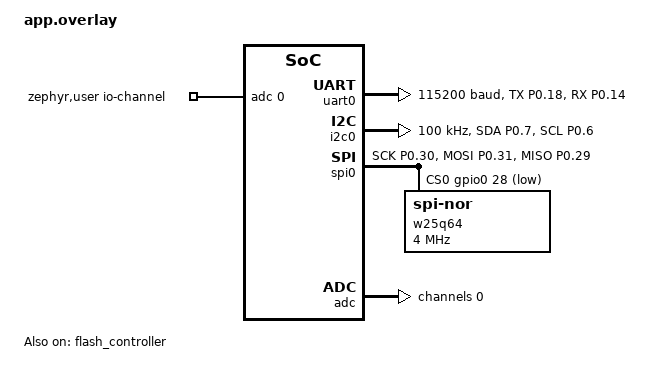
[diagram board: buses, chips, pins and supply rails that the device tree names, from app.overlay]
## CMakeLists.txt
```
# SPDX-License-Identifier: Apache-2.0

cmake_minimum_required(VERSION 3.20.0)

find_package(Zephyr REQUIRED)
project(blinky_3)

# 主源文件
target_sources(app PRIVATE src/main.c)

# 传感器模块
target_sources(app PRIVATE 
    src/sensors/aht30.c
    src/sensors/spl06.c
)

# 存储模块
target_sources(app PRIVATE 
    src/storage/w25q64.c
    src/storage/nvs_config.c
    src/storage/offline_clock.c
)

# 蓝牙模块
target_sources(app PRIVATE 
    src/ble/ble_adv.c
    src/ble/ble_services.c
    src/ble/ble_ota.c
)

# LED模块
target_sources(app PRIVATE src/led.c)

# 电池电压采样（当前发布 CONFIG_ADC=y；实际包含 SAADC 驱动与测量代码）
target_sources(app PRIVATE src/vdd.c)

# 添加包含目录
target_include_directories(app PRIVATE src)
```

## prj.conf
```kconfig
# 基础功能
CONFIG_GPIO=y

# 控制台：发布态全部关闭，见文件末尾「Release 配置」段。
#
# 【调试态启用方法】把文件末尾 Release 段整体注释掉，改用 RTT + J-Link 抓日志：
#     CONFIG_CONSOLE=y
#     CONFIG_UART_CONSOLE=n
#     CONFIG_USE_SEGGER_RTT=y
#     CONFIG_RTT_CONSOLE=y
#     CONFIG_NCS_BOOT_BANNER=n
#     CONFIG_PRINTK=y
#
# 【重要】CONFIG_NCS_BOOT_BANNER 在 NCS 中默认 y，且会 select PRINTK + select EARLY_CONSOLE，
# 因此“只写 CONFIG_PRINTK=n”是无效的：Kconfig 会给出
#   "PRINTK was assigned the value 'n' but got the value 'y'"
# 警告并继续编译 printk。要真正关掉 printk，必须同时关闭 NCS_BOOT_BANNER。
# 当前 CONFIG_CONSOLE=n 时 printk 本就没有输出后端，这些字符串只是纯 ROM 浪费。
CONFIG_SERIAL=y

# I2C 配置 - AHT30 温湿度传感器
CONFIG_I2C=y
CONFIG_I2C_NRFX=y

# SPI 配置 - W25Q64 Flash存储器（SPI 实例由板级 overlay 通过 devicetree 启用）
CONFIG_SPI=y
CONFIG_SPI_NRFX=y

# UART 驱动（设备树 uart0 仍存在，仅控制台改为 RTT）
CONFIG_UART_ASYNC_API=n
CONFIG_UART_INTERRUPT_DRIVEN=y

# 日志配置：发布态关闭。RTT 仅在调试态启用（写法见文件开头说明）。
# 注意：CONFIG_LOG 在本文件只允许出现一次（Kconfig 取最后一次赋值，重复会让文档与实际不一致）。

# 内存优化
# 注意：CONFIG_MAIN_STACK_SIZE 集中在本文件末尾的「栈与内存」段统一定义，此处不再重复赋值。
CONFIG_IDLE_STACK_SIZE=128
CONFIG_SYSTEM_WORKQUEUE_STACK_SIZE=1280
CONFIG_ISR_STACK_SIZE=1024

# 禁用串口控制台 (大幅节省 RAM)
# CONFIG_SERIAL=n
# CONFIG_CONSOLE=n
# CONFIG_UART_CONSOLE=n

# 蓝牙栈内存优化 (BT_HCI_TX_STACK_SIZE 由 nRF 默认设为 1536，勿覆盖)
#
# 【1024 → 1280，2026-09-13】实测依据（build-ota3，CONFIG_INIT_STACKS）：
#   未跑 OTA：rx_thread_stack 峰值 936/1024，只剩 88 B
#   跑完 OTA：峰值 968/1024，只剩 **56 B** —— 远低于 128 B 安全线
# 为什么 GATT 回调这么吃栈：这些重操作**直接跑在 BT RX 上下文**里：
#   · 写 W25Q64 记录     · 保存续传状态到 NVS     · OTA 开始时整槽擦除
#   · OTA 结束时扫描整个镜像算 SHA-256（mbedtls 上下文 + hash[32] 都在栈上）
# 只加容量是「短期最小修复」：它消除爆栈，但**不解决"阻塞 BT RX"**。
# 【已落地 2026-09-13】擦除 / Flash 写入 / NVS / 整镜像 SHA-256 已全部移出 GATT 回调，
#   改为「回调只校验+拷贝+投递，系统工作队列执行」（ble_ota.c 异步重写）。
#   重写后实测峰值 648/1280（空闲 632 B），重活落在 sys_work_q_stack（968/1280，空闲 312 B）。
#
# 【1280 → 1024，2026-09-13】按 648 B 峰值回收 256 B。
#   **已复测通过（build-ota3，INIT_STACKS），1024 固化为发布配置：**
#   最坏路径全套跑完后读栈（MTU128 全量 / MTU65 回退 / 断连续传 / 错误 SHA /
#   超大与错误密钥拒绝 / 重复 START·CANCEL，全程未复位，故为累积峰值）：
#     rx_thread_stack  峰值 648/1024 → 空闲 **376 B**  ✅（验收线 256 B）
#     sys_work_q 936/1280 空闲 344   z_main 696/1024 空闲 328
#     z_interrupt 600/1024 空闲 424  mpsl 400/640 空闲 240（最紧张，仍 ≥128）
#   **不要降到 768**：按峰值 648 仅余 120 B，不合格（低于 128 B 门槛）。
#   若将来测得 rx 空闲 < 256 B，一律恢复 1280。
#   代价/收益：总 RAM 23,016 → 22,760 B（92.61%），物理余量 1,560 → 1,816 B。
# 1.0.12 历史同步与 OTA 实测峰值 936 B，按上述规则恢复 1280 B；待同负载复测。
CONFIG_BT_RX_STACK_SIZE=1280

# 时钟配置
CONFIG_CLOCK_CONTROL_NRF_K32SRC_RC=y
CONFIG_CLOCK_CONTROL_NRF_K32SRC_XTAL=n
CONFIG_CLOCK_CONTROL_NRF_K32SRC_500PPM=y

# 蓝牙配置
CONFIG_BT=y
CONFIG_BT_PERIPHERAL=y
CONFIG_BT_DEVICE_NAME="PandaTemp"
CONFIG_BT_DEVICE_NAME_DYNAMIC=y
CONFIG_BT_DEVICE_NAME_MAX=32
CONFIG_BT_MAX_CONN=1
CONFIG_BT_MAX_PAIRED=0
CONFIG_BT_SMP=n
CONFIG_BT_BONDABLE=n
CONFIG_BT_BUF_ACL_RX_SIZE=132
CONFIG_BT_BUF_ACL_TX_SIZE=132
CONFIG_BT_BUF_ACL_TX_COUNT=4
CONFIG_BT_BUF_EVT_RX_COUNT=5
CONFIG_BT_L2CAP_TX_BUF_COUNT=4
CONFIG_BT_L2CAP_TX_MTU=128
CONFIG_BT_BUF_CMD_TX_SIZE=65
CONFIG_BT_GATT_CACHING=n
CONFIG_BT_GAP_AUTO_UPDATE_CONN_PARAMS=n
CONFIG_BT_GATT_ENFORCE_SUBSCRIPTION=n
CONFIG_BT_ATT_PREPARE_COUNT=0

# 电源管理（nRF52 系列 52810/52832 等在 NCS 中均未选 HAS_PM，CONFIG_PM 依赖不满足，勿强制 =y）
# CONFIG_PM=y
# CONFIG_PM_DEVICE=y
#
# 【如何打开】
# 1) 换板子时：若新板子/SoC 在 NCS 中已选 HAS_PM（非 nRF52 或后续 NCS 若开放），在 prj.conf 取消上面两行注释即可。
# 2) 当前板子要打开：先确认依赖——CONFIG_PM 依赖 SYS_CLOCK_EXISTS 与 HAS_PM（SoC 提供低功耗钩子）。
#    - 在 build 目录执行：ninja menuconfig → Subsystems and OS → Power Management，查看依赖是否满足。
#    - 若 HAS_PM 未选：在板级 conf（如 boards/<板名>.conf）或 SoC 层添加 select HAS_PM（需改 NCS 板级/SoC 树）。
# 3) 仅要系统级低功耗（k_sleep 进低功耗）：只启用 CONFIG_PM=y；CONFIG_PM_DEVICE 可选。
# 4) 启用 CONFIG_PM_DEVICE 时：app.overlay 中已对 i2c0/adc/flash 删除 zephyr,pm-device-runtime-auto，可避免链接错误。

# DCDC 转换器（降低射频功耗约40%）
# 注意：nrf52dk_nrf52810.dts 已默认启用 DCDC (regulator-initial-mode = NRF5X_REG_MODE_DCDC)

# Flash 配置
CONFIG_FLASH=y
CONFIG_FLASH_PAGE_LAYOUT=y
CONFIG_FLASH_MAP=y
CONFIG_SOC_FLASH_NRF=y
CONFIG_SPI_NOR=y
CONFIG_FLASH_JESD216_API=y
# 外置 SPI NOR 的“布局页/擦除块”粒度必须等于 W25Q64 的实际擦除块 = 4 KiB。
# Zephyr 默认 65536，会与 NVS 的 sector_size=4096 直接冲突：
#   nvs_mount() -> flash_get_page_info_by_offs() 得到 info.size=65536
#   校验 `fs->sector_size % info.size` = 4096 % 65536 = 4096 != 0 -> 返回 -EINVAL
# 后果：nvs_config_init() 失败、nvs_ready 恒为 0，时间基准/采样间隔/设备配置全部无法持久化。
# 实测证据（2026-09-11）：修前 nvs_ready=0x00，W25Q64 的 nvs_storage(0x28000) 首 64B 全 0xFF。
# 该布局在 ROM 中仅是 {pages_count, pages_size} 两个整数，不占 RAM。
CONFIG_SPI_NOR_FLASH_LAYOUT_PAGE_SIZE=4096

# NVS 配置（配置 + W25Q64 位置存芯片 FLASH，定时 flush）
CONFIG_NVS=y
# CONFIG_SETTINGS=y
# 注意：CONFIG_NVS_LOG_LEVEL 由 Zephyr 日志子系统间接提供，不可在 prj.conf 中直接设置；
# 且当前 CONFIG_LOG=n，NVS 日志已随全局日志关闭。
# NVS 写内部 Flash 时需允许 MPU 写，否则可能 MPU FAULT
CONFIG_MPU_ALLOW_FLASH_WRITE=y

# ===== Release 配置：关闭全部控制台/日志输出（省 ROM/RAM）=====
#
# 维护须知：Kconfig 对同一符号取“最后一次赋值”，在同一文件里重复赋值只会产生警告，
# 并让文档与实际 .config 不一致（本项目历史上就发生过：文档写 PRINTK=n，实际 CONFIG_PRINTK=y）。
# 因此每个符号在 prj.conf 中只出现一次，调试开关统一走文件开头的说明。
CONFIG_LOG=n
CONFIG_PRINTK=n
CONFIG_CONSOLE=n
# PRINTK 被强制为 y 的真正原因：NCS_BOOT_BANNER 默认 y 且 select PRINTK + EARLY_CONSOLE
CONFIG_NCS_BOOT_BANNER=n
CONFIG_EARLY_CONSOLE=n

CONFIG_USE_SEGGER_RTT=n
CONFIG_RTT_CONSOLE=n
CONFIG_LOG_BACKEND_RTT=n

CONFIG_BOOT_BANNER=n

# 512 → 640（2026-09-13）：实测峰值 400/512，余 112 B，是全项目余量最小的栈。
# MPSL 是协议栈的低优先级工作上下文，余量必须留够，不能拿它去换别的 RAM。
CONFIG_MPSL_WORK_STACK_SIZE=640

# ===== 栈与内存：CONFIG_MAIN_STACK_SIZE 全工程唯一赋值点 =====
# 实测（tools/stack_hwm.py，2026-09-11）：
#   768 B 时 z_main_stack 峰值 680 B，仅余 88 B（88.5%）——全项目最紧张的一个栈。
#   v3（采样/历史周期解耦）在采样路径上又增加了聚合与事件判定逻辑，故上调到 1024 B，
#   把余量拉回安全区；RAM 代价 +256 B。
CONFIG_MAIN_STACK_SIZE=1024

# ==========================================================================
# OTA（自定义极简 BLE OTA：Control / Data / Status）
# ==========================================================================
# 镜像写入：flash_img + stream_flash。缓冲就是 CONFIG_IMG_BLOCK_BUF_SIZE，
# 没有隐藏的大结构（struct flash_img_context = buf[N] + flash_area* + stream_flash_ctx≈48B）。
# 取 256 = W25Q64 的页大小，正好一次页编程写满，不浪费。
# 注意：IMG_MANAGER **depends on** STREAM_FLASH（是 depends 不是 select），
# 不显式打开的话 Kconfig 会静默丢弃 IMG_MANAGER，表现为
# "CONFIG_IMG_BLOCK_BUF_SIZE undeclared" 这种看起来毫不相干的编译错误。
CONFIG_STREAM_FLASH=y
CONFIG_IMG_MANAGER=y
CONFIG_IMG_BLOCK_BUF_SIZE=256

# App 侧 SHA-256 校验（flash_img_check）。会拉进 SHA-256 实现，
# 若体积超标可关掉——完整性最终由 MCUboot 的 ECDSA-P256 验签兜底。
CONFIG_IMG_ENABLE_IMAGE_CHECK=y

# sys_reboot() 需要显式打开，否则链接期才报 "undefined reference to sys_reboot"
CONFIG_REBOOT=y

# ATT MTU：请求 128，协商失败自动回退到默认（不是升级前提）。
# 代价是 ACL 缓冲从 69 加到 132（MTU+4），RAM 约 +0.4 KB。
# CONFIG_BT_L2CAP_TX_MTU / *_BUF_ACL_*_SIZE 在上面的蓝牙段统一定义，此处不再重复。

# ==========================================================================
# 电池电压（SAADC 内部 VDD 通道，零外部电路 —— 见 app.overlay 的 &adc）
# ==========================================================================
# 板子**没有**电压采样/分压电路；nRF52810 的 SAADC 能直接测 VDD，前提是
# VCC 直接由电池供电（无 LDO），否则读到的是稳压值而不是电池电压。
#
# 实测成本（隔离探针 build-vddprobe，对比 build-ota3）：
#   ROM +4,432 B（签名镜像 145,590 → 150,023，距红线仍有 7,673 B）
#   RAM +192 B （22,760 → 22,952，物理余量 1,816 → 1,624 B）
# 其中我们自己的代码只有 120 B（vdd_sample_mv），其余全是 Zephyr ADC 子系统
# + nrfx SAADC 驱动（adc_nrfx_read/SAADC_IRQHandler/nrfx_saadc_* 等）。
# 注意：**必须真有 adc_read() 调用点**才量得准 —— 只开 CONFIG_ADC 而不调用，
# --gc-sections 会把整个驱动回收，量出来是 ~0（与 IMG_MANAGER 探针同一个坑）。
#
# 功耗：驱动在每次转换 DONE 后 nrfy_saadc_disable()，空闲不耗电；
# 默认每 60 秒采一次（见 src/vdd.h 的 VDD_SAMPLE_PERIOD_S，钳位 60~300）。
CONFIG_ADC=y
```

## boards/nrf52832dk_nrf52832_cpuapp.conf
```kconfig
# nRF52832 上 W25Q64 使用 SPI1，显式启用 SPI 实例 1
CONFIG_SPI_1=y
```

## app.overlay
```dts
/* NRF_SAADC_VDD 等 SAADC 输入宏（电池电压采样用） */
#include <zephyr/dt-bindings/adc/nrf-saadc.h>

/ {
	aliases {
		/* 当前52810使用此SPI；旧52832配置仅作历史归档 */
		w25q64-spi = &spi0;
	};
	chosen {
		zephyr,console = &uart0;
		zephyr,shell-uart = &uart0;
		nordic,pm-ext-flash = &w25q64;
	};
	zephyr,user {
		/* 通道 0 = 电池电压（见文件末尾 &adc） */
		io-channels = <&adc 0>;
	};
};

&uart0 {
	status = "okay";
	current-speed = <115200>;
	pinctrl-0 = <&uart0_default_custom>;
	pinctrl-1 = <&uart0_sleep_custom>;
	pinctrl-names = "default", "sleep";
};

&pinctrl {
	uart0_default_custom: uart0_default_custom {
		group1 {
			psels = <NRF_PSEL(UART_TX, 0, 18)>,
			        <NRF_PSEL(UART_RX, 0, 14)>;
		};
	};

	uart0_sleep_custom: uart0_sleep_custom {
		group1 {
			psels = <NRF_PSEL(UART_TX, 0, 18)>,
			        <NRF_PSEL(UART_RX, 0, 14)>;
			low-power-enable;
		};
	};

	i2c0_default_custom: i2c0_default_custom {
		group1 {
			psels = <NRF_PSEL(TWIM_SDA, 0, 7)>,
			        <NRF_PSEL(TWIM_SCL, 0, 6)>;
			bias-pull-up;
		};
	};

	i2c0_sleep_custom: i2c0_sleep_custom {
		group1 {
			psels = <NRF_PSEL(TWIM_SDA, 0, 7)>,
			        <NRF_PSEL(TWIM_SCL, 0, 6)>;
			low-power-enable;
			bias-pull-up;
		};
	};

	/*
	 * W25Q64 SPI0 pinctrl: SCK=P0.30, MOSI=P0.31, MISO=P0.29.
	 *
	 * These states MUST live in this file.  Zephyr's
	 * configuration_files.cmake stops looking for `app.overlay` as soon as
	 * it finds a matching `boards/<board>_<soc>.overlay`, so SPI0 used to
	 * silently fall back to the nRF52 DK defaults (SCK=P0.29, MISO=P0.30,
	 * no cs-gpios) whenever the pin config was moved into boards/.
	 */
	spi0_default_custom: spi0_default_custom {
		group1 {
			psels = <NRF_PSEL(SPIM_SCK, 0, 30)>,
			        <NRF_PSEL(SPIM_MOSI, 0, 31)>,
			        <NRF_PSEL(SPIM_MISO, 0, 29)>;
			bias-pull-down;
		};
	};

	spi0_sleep_custom: spi0_sleep_custom {
		group1 {
			psels = <NRF_PSEL(SPIM_SCK, 0, 30)>,
			        <NRF_PSEL(SPIM_MOSI, 0, 31)>,
			        <NRF_PSEL(SPIM_MISO, 0, 29)>;
			low-power-enable;
			bias-pull-down;
		};
	};
};

&uicr {
	/delete-property/ gpio-as-nreset;
};

&i2c0 {
	status = "okay";
	compatible = "nordic,nrf-twim";
	pinctrl-0 = <&i2c0_default_custom>;
	pinctrl-1 = <&i2c0_sleep_custom>;
	pinctrl-names = "default", "sleep";
	clock-frequency = <I2C_BITRATE_STANDARD>;
	/delete-property/ zephyr,pm-device-runtime-auto;
};

/* SPI0 - W25Q64 Flash（nRF52810 只有一组 SPI，与 I2C 不冲突）
 * 注意：引脚与 CS 必须写在本文件内，原因见上方 spi0_default_custom 的注释。
 * 旧nRF52832的SPI1方案已归档于docs/archive/boards/，不属于当前构建入口。
 */

&spi0 {
	status = "okay";
	compatible = "nordic,nrf-spim";
	pinctrl-0 = <&spi0_default_custom>;
	pinctrl-1 = <&spi0_sleep_custom>;
	pinctrl-names = "default", "sleep";
	cs-gpios = <&gpio0 28 GPIO_ACTIVE_LOW>;
	/delete-property/ zephyr,pm-device-runtime-auto;

	w25q64: w25q64@0 {
		compatible = "jedec,spi-nor";
		status = "okay";
		reg = <0>;
		spi-max-frequency = <4000000>;
		size = <0x4000000>;
		jedec-id = [ef 40 17];
		/* A soft reset does not wake a W25Q64 left in deep power-down.
		 * Keep this in sync with sysbuild/mcuboot.overlay.
		 */
		has-dpd;
		t-exit-dpd = <3000>;
	};
};

/*
 * 电池电压采样：SAADC 内部 VDD 通道，**不需要任何外部电路**。
 *
 * 板子没有电压分压/采样电路，但 nRF52810 的 SAADC 能直接测 VDD：
 *   内部基准 0.6 V + 增益 1/6 → 量程 3.6 V（覆盖模块工作电压 1.7~3.6 V）
 *   换算：mV = raw * 3600 / 4096（12 bit，见 src/vdd.c）
 * 前提：VCC 直接由电池供电（无 LDO/稳压），否则测到的是稳压值而非电池电压。
 *
 * 驱动在每次转换完成后会 nrfy_saadc_disable()，空闲不耗电。
 */
&adc {
	status = "okay";
	/delete-property/ zephyr,pm-device-runtime-auto;
	#address-cells = <1>;
	#size-cells = <0>;

	channel@0 {
		reg = <0>;
		zephyr,gain = "ADC_GAIN_1_6";
		zephyr,reference = "ADC_REF_INTERNAL";
		zephyr,acquisition-time = <ADC_ACQ_TIME_DEFAULT>;
		zephyr,input-positive = <NRF_SAADC_VDD>;
		zephyr,resolution = <12>;
	};
};

&flash_controller {
	status = "okay";
};

&flash0 {
	status = "okay";
	/delete-property/ zephyr,pm-device-runtime-auto;

	/* MCUboot + PM 布局：内部只保留 primary app，不再放 NVS */
	/delete-node/ partitions;

	partitions {
		compatible = "fixed-partitions";
		#address-cells = <1>;
		#size-cells = <1>;

		/* Primary app (0x8200 - 0x30000) */
		slot0_partition: partition@8200 {
			label = "image-0";
			reg = <0x00008200 0x00027E00>;
		};
	};
};
```

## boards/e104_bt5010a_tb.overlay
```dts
/* SPDX-License-Identifier: Apache-2.0 */
/* Reference only; current release uses nrf52dk/nrf52810 + app.overlay. */
/* E104-BT5010A (nRF52810) 板级 overlay：W25Q64 使用 SPI0，引脚 30/31/29，CS 28 */

/ {
	aliases {
		w25q64-spi = &spi0;
	};
};

&pinctrl {
	spi0_default_custom: spi0_default_custom {
		group1 {
			psels = <NRF_PSEL(SPIM_SCK, 0, 30)>,
			        <NRF_PSEL(SPIM_MOSI, 0, 31)>,
			        <NRF_PSEL(SPIM_MISO, 0, 29)>;
			bias-pull-down;
		};
	};
	spi0_sleep_custom: spi0_sleep_custom {
		group1 {
			psels = <NRF_PSEL(SPIM_SCK, 0, 30)>,
			        <NRF_PSEL(SPIM_MOSI, 0, 31)>,
			        <NRF_PSEL(SPIM_MISO, 0, 29)>;
			low-power-enable;
			bias-pull-down;
		};
	};
};

&spi0 {
	status = "okay";
	compatible = "nordic,nrf-spim";
	pinctrl-0 = <&spi0_default_custom>;
	pinctrl-1 = <&spi0_sleep_custom>;
	pinctrl-names = "default", "sleep";
	cs-gpios = <&gpio0 28 GPIO_ACTIVE_LOW>;
	/delete-property/ zephyr,pm-device-runtime-auto;
};
```

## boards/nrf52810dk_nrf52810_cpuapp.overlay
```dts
/* SPDX-License-Identifier: Apache-2.0 */

/*
 * WARNING: this file is NOT used by any build.
 *
 * The board target is `nrf52dk/nrf52810`; Zephyr hwmv2 only looks for
 * `<board>_<soc>.overlay` (i.e. `nrf52dk_nrf52810.overlay`).  There is no
 * `nrf52810dk` board, so this file is never applied — which is why SPI0 kept
 * running on the nRF52 DK default pins.  All board pin configuration for the
 * current target now lives in `app.overlay`; do not "fix" this by renaming it,
 * because a matching `boards/*.overlay` silently replaces `app.overlay`
 * (see cmake/modules/configuration_files.cmake).
 */

/ {
	
	chosen {
		/* 确保 console 使用 UART0 */
		zephyr,console = &uart0;
	};

};

/* 配置 UART0 - 参考 RIOT-2020.10-RC3 periph_conf.h */
/* E104-BT5010A: UART 映射到 USB 虚拟 COM 端口 */
/* 使用 pinctrl 方式配置引脚：P0.18 (TX), P0.14 (RX) */
&uart0 {
	status = "okay";
	current-speed = <115200>;
	pinctrl-0 = <&uart0_default_custom>;
	pinctrl-1 = <&uart0_sleep_custom>;
	pinctrl-names = "default", "sleep";
};

/* 自定义 UART0 pinctrl 配置 - 覆盖默认配置 */
&pinctrl {
	uart0_default_custom: uart0_default_custom {
		group1 {
			psels = <NRF_PSEL(UART_TX, 0, 18)>,  /* P0.18 - TXD */
			        <NRF_PSEL(UART_RX, 0, 14)>;  /* P0.14 - RXD */
		};
	};

	uart0_sleep_custom: uart0_sleep_custom {
		group1 {
			psels = <NRF_PSEL(UART_TX, 0, 18)>,  /* P0.18 - TXD */
			        <NRF_PSEL(UART_RX, 0, 14)>;  /* P0.14 - RXD */
			low-power-enable;
		};
	};

	/* W25Q64 SPI0 pinctrl：SLK 30, MOSI 31, MISO 29 */
	spi0_default_custom: spi0_default_custom {
		group1 {
			psels = <NRF_PSEL(SPIM_SCK, 0, 30)>,
			        <NRF_PSEL(SPIM_MOSI, 0, 31)>,
			        <NRF_PSEL(SPIM_MISO, 0, 29)>;
			bias-pull-down;
		};
	};
	spi0_sleep_custom: spi0_sleep_custom {
		group1 {
			psels = <NRF_PSEL(SPIM_SCK, 0, 30)>,
			        <NRF_PSEL(SPIM_MOSI, 0, 31)>,
			        <NRF_PSEL(SPIM_MISO, 0, 29)>;
			low-power-enable;
			bias-pull-down;
		};
	};
};

/* SPI0 - W25Q64 Flash（52810 仅有一组 SPI，与 I2C 不冲突） */
&spi0 {
	status = "okay";
	compatible = "nordic,nrf-spim";
	pinctrl-0 = <&spi0_default_custom>;
	pinctrl-1 = <&spi0_sleep_custom>;
	pinctrl-names = "default", "sleep";
	cs-gpios = <&gpio0 28 GPIO_ACTIVE_LOW>;
	/delete-property/ zephyr,pm-device-runtime-auto;
};

/* 删除 gpio-as-nreset 属性，因为 CONFIG_GPIO_AS_PINRESET=n */
/* E104-BT5010A 不需要使用 GPIO 作为复位引脚 */
&uicr {
	/delete-property/ gpio-as-nreset;
};
```

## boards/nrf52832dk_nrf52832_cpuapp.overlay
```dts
/* SPDX-License-Identifier: Apache-2.0 */
/* nRF52832 板级 overlay - 与 E104-BT5010A 相同引脚：UART 18/14, I2C 6/7, SPI 30/31/29, CS 28
 * 注意：52832 上 i2c0 与 spi0 共用 0x40003000，只能二选一，故 W25Q64 使用 spi1 (0x40004000)。 */

/ {
	aliases {
		/* 52832 上 I2C0 与 SPI0 共用基址，W25Q64 改用 SPI1 */
		w25q64-spi = &spi1;
	};
	chosen {
		zephyr,console = &uart0;
		zephyr,shell-uart = &uart0;
	};
};

&uart0 {
	status = "okay";
	current-speed = <4800>;
	pinctrl-0 = <&uart0_default_custom>;
	pinctrl-1 = <&uart0_sleep_custom>;
	pinctrl-names = "default", "sleep";
};

&pinctrl {
	uart0_default_custom: uart0_default_custom {
		group1 {
			psels = <NRF_PSEL(UART_TX, 0, 18)>,
			        <NRF_PSEL(UART_RX, 0, 14)>;
		};
	};

	uart0_sleep_custom: uart0_sleep_custom {
		group1 {
			psels = <NRF_PSEL(UART_TX, 0, 18)>,
			        <NRF_PSEL(UART_RX, 0, 14)>;
			low-power-enable;
		};
	};

	i2c0_default_custom: i2c0_default_custom {
		group1 {
			psels = <NRF_PSEL(TWIM_SDA, 0, 7)>,
			        <NRF_PSEL(TWIM_SCL, 0, 6)>;
			bias-pull-up;
		};
	};

	i2c0_sleep_custom: i2c0_sleep_custom {
		group1 {
			psels = <NRF_PSEL(TWIM_SDA, 0, 7)>,
			        <NRF_PSEL(TWIM_SCL, 0, 6)>;
			low-power-enable;
			bias-pull-up;
		};
	};

	/* SPI1 用于 W25Q64（52832 上 SPI0 与 I2C0 共用基址，故用 SPI1）；port 0 引脚 30/31/29 */
	spi1_default_custom: spi1_default_custom {
		group1 {
			psels = <NRF_PSEL(SPIM_SCK, 0, 30)>,
			        <NRF_PSEL(SPIM_MOSI, 0, 31)>,
			        <NRF_PSEL(SPIM_MISO, 0, 29)>;
			bias-pull-down;
		};
	};

	spi1_sleep_custom: spi1_sleep_custom {
		group1 {
			psels = <NRF_PSEL(SPIM_SCK, 0, 30)>,
			        <NRF_PSEL(SPIM_MOSI, 0, 31)>,
			        <NRF_PSEL(SPIM_MISO, 0, 29)>;
			low-power-enable;
			bias-pull-down;
		};
	};
};

&uicr {
	/delete-property/ gpio-as-nreset;
};

/* 必须禁用 SPI0，否则与 I2C0 冲突（app.overlay 里默认启用了 spi0） */
&spi0 {
	status = "disabled";
};

&i2c0 {
	status = "okay";
	compatible = "nordic,nrf-twim";
	pinctrl-0 = <&i2c0_default_custom>;
	pinctrl-1 = <&i2c0_sleep_custom>;
	pinctrl-names = "default", "sleep";
	clock-frequency = <I2C_BITRATE_STANDARD>;
	/delete-property/ zephyr,pm-device-runtime-auto;
};

/* 使用 SPI1 避免与 I2C0 冲突（52832 上 0 号外设只能 I2C 或 SPI 二选一） */
&spi1 {
	status = "okay";
	compatible = "nordic,nrf-spim";
	pinctrl-0 = <&spi1_default_custom>;
	pinctrl-1 = <&spi1_sleep_custom>;
	pinctrl-names = "default", "sleep";
	cs-gpios = <&gpio0 28 GPIO_ACTIVE_LOW>;
	/delete-property/ zephyr,pm-device-runtime-auto;
	
	/* W25Q64 Flash 设备节点 */
	w25q64: w25q64@0 {
		compatible = "jedec,spi-nor";
		reg = <0>;
		spi-max-frequency = <4000000>;  /* 降低到 4MHz 提高稳定性 */
		jedec-id = [ef 40 17];
		size = <67108864>;  /* 64 Mbit = 8 MB */
		has-dpd;
		t-enter-dpd = <3000>;
		t-exit-dpd = <30000>;
	};
};

&adc {
	/delete-property/ zephyr,pm-device-runtime-auto;
};

&flash_controller {
	status = "okay";
};

/* nRF52832 512KB Flash 分区 */
&flash0 {
	status = "okay";
	/delete-property/ zephyr,pm-device-runtime-auto;

	/delete-node/ partitions;

	partitions {
		compatible = "fixed-partitions";
		#address-cells = <1>;
		#size-cells = <1>;

		/* Application (0x0 - 0x78000: 480KB) */
		slot0_partition: partition@0 {
			label = "image-0";
			reg = <0x00000000 0x00078000>;
		};

		/* NVS Storage (0x78000 - 0x7B000: 12KB) */
		nvs_partition: partition@78000 {
			label = "nvs_storage";
			reg = <0x00078000 0x00003000>;
		};
	};
};
```

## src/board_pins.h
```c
/**
 * @file board_pins.h
 * @brief E104-BT5010A 开发板引脚配置中心
 * 
 * 本文件集中定义所有 GPIO 引脚，便于硬件移植和维护
 * 
 * 硬件版本: E104-BT5010A (nRF52810)
 * 参考: RIOT-2020.10-RC3 boards/e104-bt5010a-tb
 */

#ifndef BOARD_PINS_H_
#define BOARD_PINS_H_

#ifdef __cplusplus
extern "C" {
#endif

/* ========== LED 指示灯引脚 ========== */
/* LED 为低电平有效（低电平点亮，高电平熄灭）*/
#define PIN_LED_DATA       4   /* P0.4 - 数据指示灯 */
#define PIN_LED_LINK       5    /* P0.5 - 蓝牙连接指示灯 */

/* ========== I2C0 传感器总线引脚 ========== */
/* 连接设备: AHT30/SHT40 温湿度传感器, SPL06 气压传感器, LTR-390UV 紫外线传感器 */
/* 配置在 overlay 文件中，此处仅作文档记录 */
#define PIN_I2C0_SCL       6   /* P0.6 - I2C 时钟线 */
#define PIN_I2C0_SDA       7   /* P0.7 - I2C 数据线 */

/* ========== UART0 调试串口引脚 ========== */
/* 配置在 overlay 文件中，此处仅作文档记录 */
#define PIN_UART0_TX       18  /* P0.18 - 串口发送 */
#define PIN_UART0_RX       14  /* P0.14 - 串口接收 */

/* ========== SPI0 Flash 存储引脚 ========== */
/* W25Q64 8MB SPI Flash，用于历史数据存储 */
/* SCK/MOSI/MISO 配置在 overlay 文件中，CS 由驱动控制 */
#define PIN_SPI0_CS        28  /* P0.28 - W25Q64 片选，低电平有效 */
#define PIN_SPI0_MISO      29  /* P0.29 - SPI 数据输出 */
#define PIN_SPI0_SCK       30  /* P0.30 - SPI 时钟 */
#define PIN_SPI0_MOSI      31  /* P0.31 - SPI 数据输入 */

/* ========== 引脚功能汇总表 ========== */
/*
 * GPIO  | 功能          | 方向 | 说明
 * ------|---------------|------|----------------------------------
 * P0.4  | DATA LED      | 输出 | 数据指示灯，低电平点亮
 * P0.5  | LINK LED      | 输出 | 蓝牙连接指示灯，低电平点亮
 * P0.6  | I2C0 SCL      | 双向 | I2C 时钟线（AHT30/SHT40/SPL06/LTR390）
 * P0.7  | I2C0 SDA      | 双向 | I2C 数据线（AHT30/SHT40/SPL06/LTR390）
 * P0.14 | UART0 RX      | 输入 | 串口接收（调试用）
 * P0.18 | UART0 TX      | 输出 | 串口发送（调试用）
 * P0.28 | W25Q64 CS     | 输出 | SPI Flash 片选，低电平有效
 * P0.29 | W25Q64 MISO   | 输入 | SPI Flash 数据输出
 * P0.30 | W25Q64 SCK    | 输出 | SPI Flash 时钟
 * P0.31 | W25Q64 MOSI   | 输出 | SPI Flash 数据输入
 */

/* ========== 硬件版本标识 ========== */
#define BOARD_NAME         "E104-BT5010A"
#define BOARD_VERSION      "1.1.3"
#define MCU_MODEL          "nRF52832"

#ifdef __cplusplus
}
#endif

#endif /* BOARD_PINS_H_ */
```

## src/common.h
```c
/**
 * @file common.h
 * @brief 公共数据类型定义
 */

#ifndef COMMON_H_
#define COMMON_H_

#include <zephyr/kernel.h>
#include <stdbool.h>
#include <stdint.h>

#ifdef __cplusplus
extern "C" {
#endif

/* RAM 缓冲区大小 */
#define RAM_BUFFER_SIZE 5

/**
 * @brief 数据记录结构
 */
struct data_record {
	uint32_t timestamp;          /* Unix时间戳（秒）*/
	int16_t temperature;         /* 温度（0.01°C）*/
	uint16_t humidity;           /* 湿度（0.01%RH）*/
	uint32_t pressure_centihpa;  /* 气压（Pa，单位0.01hPa）*/
} __packed;

/**
 * @brief 历史数据传输上下文（结构体封装优化）
 * 
 * 优化前：约8个分散的静态全局变量
 * 优化后：统一封装到一个结构体中
 */
typedef struct {
	uint16_t sector;              /* 当前传输扇区 */
	uint16_t record_idx;          /* 当前扇区内的记录索引 */
	uint32_t start_timestamp;     /* 起始时间戳（0表示发送全部数据）*/
	bool active;                  /* 传输是否进行中 */
	bool binary_search_done;      /* 二分查找是否已完成 */
	uint32_t total_sent_packets;  /* 累计发送包数 */
	uint32_t total_sent_records;  /* 累计发送记录数 */
	uint32_t last_sent_timestamp; /* 上一条发送记录的时间戳 */
	bool sending;                 /* 是否有在途的历史通知 */
	uint8_t tx_buf[60];           /* 历史数据发送缓冲区 */
} history_transfer_ctx_t;

/**
 * @brief 时间同步上下文
 */
typedef struct {
	uint32_t base_timestamp;      /* 基准时间戳（Unix 时间戳，秒）*/
	int64_t base_uptime;          /* 基准时间对应的系统运行时间（毫秒）*/
	bool synced;                  /* 时间是否已同步 */
} time_sync_ctx_t;

/**
 * @brief 清空数据上下文
 */
typedef struct {
	bool in_progress;             /* 清空数据进行中标志 */
	uint16_t progress;            /* 当前进度（扇区号）*/
	uint16_t erased_count;        /* 成功擦除扇区数 */
	uint16_t failed_count;        /* 失败扇区数 */
} clear_data_ctx_t;

/**
 * @brief 蓝牙状态上下文
 */
typedef struct {
	bool connected;               /* 是否已连接 */
	bool ready;                   /* 蓝牙是否就绪 */
} bt_state_ctx_t;

#ifdef __cplusplus
}
#endif

#endif /* COMMON_H_ */
```

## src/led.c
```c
/**
 * @file led.c
 * @brief LED 指示灯控制
 */

#include "led.h"
#include <zephyr/sys/printk.h>

/* 工作队列声明 */
static struct k_work_delayable link_blink_work;
static struct k_work_delayable data_blink_work;
static struct k_work_delayable data_led_off_work;

/* 蓝牙状态标志（由外部设置）*/
static bool bt_ready_flag = false;
static bool bt_connected_flag = false;

/* DATA灯闪烁计数 */
static int data_blink_count = 0;

/* LINK灯闪烁工作函数（低功耗模式：不再闪烁）*/
static void link_blink_work_handler(struct k_work *work)
{
	/* 低功耗优化：未连接时不再闪烁LED，保持熄灭 */
	/* 只有蓝牙连接时才点亮LINK LED（由 bt_connected_cb 控制）*/
	(void)work;
}

/* DATA灯闪烁工作函数（时间同步指示）*/
static void data_blink_work_handler(struct k_work *work)
{
	data_blink_count++;
	
	/* 闪烁3次后停止 */
	if (data_blink_count < 6) {  /* 3次闪烁 = 6次状态切换 */
		led_toggle(DATA_LED_MASK);
		k_work_schedule(&data_blink_work, K_MSEC(DATA_BLINK_MS));
	} else {
		data_blink_count = 0;
		led_off(DATA_LED_MASK);
	}
}

/* DATA LED熄灭工作函数（用于温湿度数据指示）*/
static void data_led_off_work_handler(struct k_work *work)
{
	led_off(DATA_LED_MASK);
}

/* 初始化 LED GPIO */
void led_init(void)
{
	/* 配置 LED GPIO 为输出模式 */
	nrf_gpio_cfg_output(DATA_LED_PIN);
	nrf_gpio_cfg_output(LINK_LED_PIN);
	
	/* 初始化时所有 LED 熄灭（高电平）*/
	led_off(LED_MASK);
	
	/* 初始化工作队列 */
	k_work_init_delayable(&link_blink_work, link_blink_work_handler);
	k_work_init_delayable(&data_blink_work, data_blink_work_handler);
	k_work_init_delayable(&data_led_off_work, data_led_off_work_handler);
	
	printk("[LED] GPIO 初始化完成 (DATA: P0.%d, LINK: P0.%d)\r\n", 
	       DATA_LED_PIN, LINK_LED_PIN);
}

/* 设置蓝牙就绪状态 */
void led_set_bt_ready(bool ready)
{
	bt_ready_flag = ready;
}

/* 设置蓝牙连接状态 */
void led_set_bt_connected(bool connected)
{
	bt_connected_flag = connected;
}

/* Called once before Bluetooth starts; no extra timer, work item or thread. */
void led_show_power_on(void)
{
	for (unsigned int pulse = 0; pulse < 6U; ++pulse) {
		led_on(LINK_LED_MASK);
		k_msleep(250);
		led_off(LINK_LED_MASK);
		k_msleep(250);
	}
}

/* 启动 LINK 灯闪烁 */
void led_start_link_blink(void)
{
	k_work_schedule(&link_blink_work, K_MSEC(LINK_BLINK_MS));
}

/* 停止 LINK 灯闪烁 */
void led_stop_link_blink(void)
{
	k_work_cancel_delayable(&link_blink_work);
}

/* 启动 DATA 灯闪烁 */
void led_start_data_blink(void)
{
	k_work_cancel_delayable(&data_blink_work);
	led_off(DATA_LED_MASK);  /* 先熄灭 */
	data_blink_count = 0;    /* 重置计数器 */
	k_work_schedule(&data_blink_work, K_MSEC(DATA_BLINK_MS));
}

/* DATA LED 短暂点亮指示 */
void led_data_flash(void)
{
	led_on(DATA_LED_MASK);
	k_work_schedule(&data_led_off_work, K_MSEC(50));  /* 50ms后熄灭 */
}
```

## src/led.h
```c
/**
 * @file led.h
 * @brief LED 指示灯控制头文件
 * 
 * LED 为低电平有效（低电平点亮，高电平熄灭）
 */

#ifndef LED_H_
#define LED_H_

#include <zephyr/kernel.h>
#include <hal/nrf_gpio.h>
#include "board_pins.h"

#ifdef __cplusplus
extern "C" {
#endif

/* LED 引脚定义（引用 board_pins.h）*/
#define DATA_LED_PIN       PIN_LED_DATA
#define LINK_LED_PIN       PIN_LED_LINK

#define LED_PORT           NRF_P0
#define DATA_LED_MASK      (1UL << DATA_LED_PIN)
#define LINK_LED_MASK      (1UL << LINK_LED_PIN)
#define LED_MASK           (DATA_LED_MASK | LINK_LED_MASK)

/* 闪烁间隔定义 */
#define LINK_BLINK_MS      500  /* LINK灯闪烁间隔500毫秒 */
#define DATA_BLINK_MS      100  /* DATA灯闪烁间隔100毫秒（时间同步指示）*/

/**
 * @brief 初始化 LED GPIO
 */
void led_init(void);

/**
 * @brief 点亮 LED（低电平有效）
 * @param mask LED 掩码
 */
static inline void led_on(uint32_t mask)
{
	LED_PORT->OUTCLR = mask;
}

/**
 * @brief 熄灭 LED（高电平熄灭）
 * @param mask LED 掩码
 */
static inline void led_off(uint32_t mask)
{
	LED_PORT->OUTSET = mask;
}

/**
 * @brief 翻转 LED 状态
 * @param mask LED 掩码
 */
static inline void led_toggle(uint32_t mask)
{
	LED_PORT->OUT ^= mask;
}

/**
 * @brief 应用启动时 LINK 灯闪烁 3 秒，结束后熄灭；仅在蓝牙启动前调用
 */
void led_show_power_on(void);

/**
 * @brief 启动 LINK 灯闪烁
 */
void led_start_link_blink(void);

/**
 * @brief 停止 LINK 灯闪烁
 */
void led_stop_link_blink(void);

/**
 * @brief 启动 DATA 灯闪烁（时间同步指示，闪烁3次）
 */
void led_start_data_blink(void);

/**
 * @brief DATA LED 短暂点亮指示（数据更新）
 */
void led_data_flash(void);

/**
 * @brief 设置蓝牙就绪状态
 * @param ready 是否就绪
 */
void led_set_bt_ready(bool ready);

/**
 * @brief 设置蓝牙连接状态
 * @param connected 是否已连接
 */
void led_set_bt_connected(bool connected);

#ifdef __cplusplus
}
#endif

#endif /* LED_H_ */
```

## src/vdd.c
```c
/**
 * @file vdd.c
 * @brief 电池电压采样实现（仅 CONFIG_ADC=y 时产生代码）
 *
 * 换算为何不依赖 adc_raw_to_millivolts_dt()：
 *   该函数对 gain 的处理在不同 Zephyr 版本间语义有差异，容易把 1/6 增益算错一倍。
 *   这里按数据手册直接算，链路完全透明：
 *     VDD --[增益 1/6]--> SAADC --[内部基准 0.6 V, 12 bit]--> raw
 *     raw = (VDD / 6) / 0.6 * 4096   =>   VDD_mV = raw * 3600 / 4096   （量程 3.6 V）
 *
 * 实测校验：调试器供 3.3 V 时读数 3325 mV（raw 3784），与标称一致，
 * 说明基准/增益比例正确（若比例错 6 倍会读到 ~20 V 或 ~0.55 V）。
 *
 * 功耗：Zephyr 的 nrfx SAADC 驱动在每次转换 DONE 后调用 nrfy_saadc_disable()，
 *   即**空闲时外设关闭**、不产生静态电流，只有采样那几毫秒耗电 —— 对 CR2032 友好。
 *   因此不需要额外的电源管理代码。
 */

#include <zephyr/kernel.h>
#include <zephyr/device.h>
#include <zephyr/drivers/adc.h>

#include "vdd.h"

#ifdef CONFIG_ADC

/* ---- 编译期钳位：周期必须落在 60~300 秒 ---- */
#if VDD_SAMPLE_PERIOD_S < 60
#undef VDD_SAMPLE_PERIOD_S
#define VDD_SAMPLE_PERIOD_S 60
#elif VDD_SAMPLE_PERIOD_S > 300
#undef VDD_SAMPLE_PERIOD_S
#define VDD_SAMPLE_PERIOD_S 300
#endif

#define VDD_GAIN_NUMERATOR   3600   /* 0.6 V 基准 × 6（1/6 增益）= 3.6 V 满量程 */
#define VDD_RAW_MAX          4096   /* 12 bit */
/* 2026-11-27 四点万用表校准（App 偏低）：真值 = 0.977866×读数 + 94.98 mV，R²=0.99937。
 * 整数近似：真值 = 读数×978/1000 + 95 mV。原始点：2701.5/2663、3192.9/3177、
 * 2718.3/2685、3230.7/3198 mV。 */
#define VDD_CAL_SCALE_NUM    978U
#define VDD_CAL_SCALE_DEN    1000U
#define VDD_CAL_OFFSET_MV    95U
#define VDD_MV_CEILING       0xFFFEU /* 上限；**不得**等于 VDD_INVALID_MV 以免语义混淆 */
#define VDD_FAIL_LIMIT       3U     /* 连续失败这么多次才判定"无数据" */

static const struct adc_dt_spec vdd_spec =
	ADC_DT_SPEC_GET_BY_IDX(DT_PATH(zephyr_user), 0);

static int16_t  vdd_raw_buf;         /* EasyDMA 采样缓冲，必须在 RAM */
static bool     vdd_channel_ready;
static uint8_t  vdd_fail_count;

uint16_t g_vdd_mv     = VDD_INVALID_MV;
uint16_t g_vdd_min_mv = VDD_INVALID_MV;
uint16_t g_vdd_max_mv;

int vdd_sample_mv(uint16_t *mv)
{
	struct adc_sequence seq = {
		.buffer      = &vdd_raw_buf,
		.buffer_size = sizeof(vdd_raw_buf),
	};
	int rc;
	int32_t raw;
	uint32_t mv32;

	if (!device_is_ready(vdd_spec.dev)) {
		return -ENODEV;
	}

	/* 通道只配置一次：SAADC 是独占外设，本项目没有别的使用者。
	 * 读取失败时清标志，下次重新下发配置，避免一次失败后永久失效。 */
	if (!vdd_channel_ready) {
		rc = adc_channel_setup_dt(&vdd_spec);
		if (rc != 0) {
			return rc;
		}
		vdd_channel_ready = true;
	}

	rc = adc_sequence_init_dt(&vdd_spec, &seq);
	if (rc != 0) {
		return rc;
	}

	rc = adc_read(vdd_spec.dev, &seq);
	if (rc != 0) {
		vdd_channel_ready = false;
		return rc;
	}

	raw = (int32_t)vdd_raw_buf;
	if (raw < 0) {
		raw = 0;
	}

	/* 用 32 位中间量，避免 16 位溢出（raw 最大 4095 → 3599 mV） */
	mv32 = (uint32_t)raw * VDD_GAIN_NUMERATOR / VDD_RAW_MAX;
	/* 2026-11-27 校准：把系统性偏低修正到万用表读数（见文件头常量说明）。 */
	mv32 = (mv32 * VDD_CAL_SCALE_NUM + VDD_CAL_SCALE_DEN / 2U) / VDD_CAL_SCALE_DEN;
	mv32 += VDD_CAL_OFFSET_MV;
	if (mv32 > VDD_MV_CEILING) {
		mv32 = VDD_MV_CEILING;
	}

	if (mv != NULL) {
		*mv = (uint16_t)mv32;
	}
	return 0;
}

void vdd_refresh(void)
{
	uint16_t mv = 0U;

	if (vdd_sample_mv(&mv) == 0) {
		vdd_fail_count = 0U;
		g_vdd_mv = mv;

		if (g_vdd_min_mv == VDD_INVALID_MV || mv < g_vdd_min_mv) {
			g_vdd_min_mv = mv;
		}
		if (mv > g_vdd_max_mv) {
			g_vdd_max_mv = mv;
		}
		return;
	}

	/* 单次失败不立刻置无效：那会让界面闪成 `--`。
	 * 连续失败到阈值才判定"确实没有数据"，此时 App 显示 `--` 是正确语义。 */
	if (vdd_fail_count < 0xFFU) {
		vdd_fail_count++;
	}
	if (vdd_fail_count >= VDD_FAIL_LIMIT) {
		g_vdd_mv = VDD_INVALID_MV;
	}
}

void vdd_periodic_tick(void)
{
	static uint16_t ticks;

	if (++ticks < VDD_SAMPLE_PERIOD_S) {
		return;
	}
	ticks = 0U;
	vdd_refresh();
}

uint16_t vdd_cached_mv(void)
{
	return g_vdd_mv;
}

#endif /* CONFIG_ADC */
```
